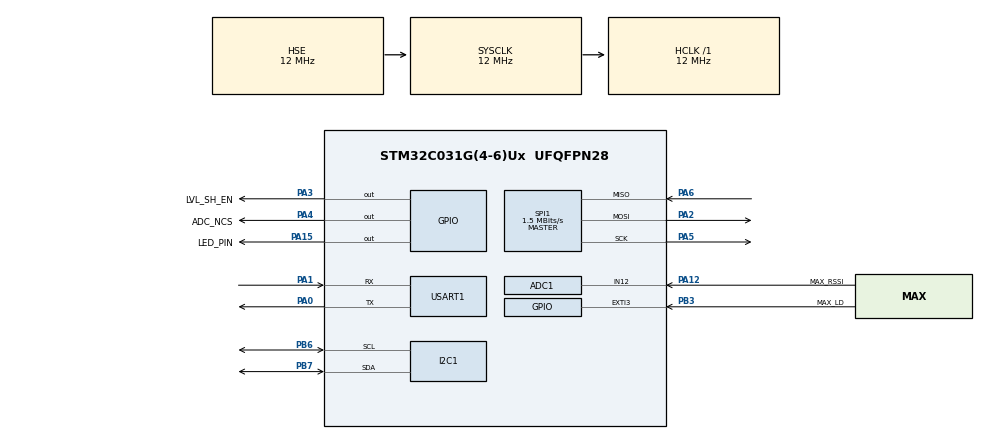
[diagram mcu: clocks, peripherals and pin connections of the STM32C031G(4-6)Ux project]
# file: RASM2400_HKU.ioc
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ADC1.Channel-0\#ChannelRegularConversion=ADC_CHANNEL_12
ADC1.NbrOfConversionFlag=1
ADC1.Rank-0\#ChannelRegularConversion=1
ADC1.SamplingTime-0\#ChannelRegularConversion=ADC_SAMPLINGTIME_COMMON_1
ADC1.SelectedChannel=ADC_CHANNEL_12
ADC1.master=1
I2C1.Timing=0x40000A0B
Mcu.Family=STM32C0
Mcu.Name=STM32C031G(4-6)Ux
Mcu.Package=UFQFPN28
PA0.Mode=Asynchronous
PA0.Signal=USART1_TX
PA1.Mode=Asynchronous
PA1.Signal=USART1_RX
PA12\ [PA10].GPIO_Label=MAX_RSSI
PA12\ [PA10].Mode=IN12
PA12\ [PA10].Signal=ADC1_IN12
PA13.Mode=Serial_Wire
PA13.Signal=DEBUG_SWDIO
PA14-BOOT0.Mode=Serial_Wire
PA14-BOOT0.Signal=DEBUG_SWCLK
PA15.GPIO_Label=LED_PIN
PA15.Signal=GPIO_Output
PA2.Mode=Full_Duplex_Master
PA2.Signal=SPI1_MOSI
PA3.GPIO_Label=LVL_SH_EN
PA3.Signal=GPIO_Output
PA4.GPIO_Label=ADC_NCS
PA4.Signal=GPIO_Output
PA5.Mode=Full_Duplex_Master
PA5.Signal=SPI1_SCK
PA6.Mode=Full_Duplex_Master
PA6.Signal=SPI1_MISO
PB3.GPIO_Label=MAX_LD
PB3.Signal=GPXTI3
PB6.Mode=I2C
PB6.Signal=I2C1_SCL
PB7.Mode=I2C
PB7.Signal=I2C1_SDA
PC14-OSCX_IN\ (PC14).Mode=HSE-External-Oscillator-REMAPPED
PC14-OSCX_IN\ (PC14).Signal=RCC_OSCX_IN
PC15-OSCX_OUT\ (PC15).Mode=HSE-External-Oscillator-REMAPPED
PC15-OSCX_OUT\ (PC15).Signal=RCC_OSCX_OUT
ProjectManager.HeapSize=0x200
ProjectManager.StackSize=0x400
ProjectManager.TargetToolchain=STM32CubeIDE
RCC.ADCFreq_Value=12000000
RCC.AHBFreq_Value=12000000
RCC.CortexFreq_Value=12000000
RCC.EXTERNAL_CLOCK_VALUE=12288000
RCC.HCLKFreq_Value=12000000
RCC.HSE_VALUE=12000000
RCC.HSI_VALUE=48000000
RCC.LSE_VALUE=32768
RCC.SYSCLKFreq_VALUE=12000000
RCC.SYSCLKSource=RCC_SYSCLKSOURCE_HSE
SPI1.BaudRatePrescaler=SPI_BAUDRATEPRESCALER_8
SPI1.CalculateBaudRate=1.5 MBits/s
SPI1.Direction=SPI_DIRECTION_2LINES
SPI1.Mode=SPI_MODE_MASTER
SPI1.VirtualType=VM_MASTER
USART1.VirtualMode-Asynchronous=VM_ASYNC
board=custom

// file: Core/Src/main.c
/* USER CODE BEGIN Header */
/**
  ******************************************************************************
  * @file           : main.c
  * @brief          : Main program body
  ******************************************************************************
  * @attention
  *
  * Copyright (c) 2024 STMicroelectronics.
  * All rights reserved.
  *
  * This software is licensed under terms that can be found in the LICENSE file
  * in the root directory of this software component.
  * If no LICENSE file comes with this software, it is provided AS-IS.
  *
  ******************************************************************************
  */
/* USER CODE END Header */
#include "main.h"
#include "adc.h"
#include "i2c.h"
#include "spi.h"
#include "usart.h"
#include "gpio.h"

/* USER CODE BEGIN Includes */
#include "config.h"
#include "platform_types.h"
#include "stm32c0xx_hal.h"
#include "ADC3xxx.h"
#include "MAX2831.h"
/* USER CODE END Includes */

void SystemClock_Config(void);

/* USER CODE BEGIN 0 */

int putchar(int c)
{
  HAL_StatusTypeDef x;

  do {
    x = HAL_UART_Transmit(&huart1, (u8*)&c, 1, 1000);

  } while(x != HAL_OK);

  return c;
}

/* USER CODE END 0 */

int main(void)
{

  /* MCU Configuration--------------------------------------------------------*/

  /* Reset of all peripherals, Initializes the Flash interface and the Systick. */
  HAL_Init();

  /* Configure the system clock */
  SystemClock_Config();

  /* Initialize all configured peripherals */
  MX_GPIO_Init();
  MX_ADC1_Init();
  MX_I2C1_Init();
  MX_SPI1_Init();
  MX_USART1_UART_Init();
  /* USER CODE BEGIN 2 */
  LVLSH_ENA();
  ADC3221_init();
  LVLSH_DIS();
  MAX2831_init();
  LED_ON();
  /* USER CODE END 2 */

  /* Infinite loop */
  while (1)
  {

  }
}

void SystemClock_Config(void)
{
  RCC_OscInitTypeDef RCC_OscInitStruct = {0};
  RCC_ClkInitTypeDef RCC_ClkInitStruct = {0};

  /** Initializes the RCC Oscillators according to the specified parameters
  * in the RCC_OscInitTypeDef structure.
  */
  RCC_OscInitStruct.OscillatorType = RCC_OSCILLATORTYPE_HSE;
  RCC_OscInitStruct.HSEState = RCC_HSE_ON;
  if (HAL_RCC_OscConfig(&RCC_OscInitStruct) != HAL_OK)
  {
    Error_Handler();
  }

  /** Initializes the CPU, AHB and APB buses clocks
  */
  RCC_ClkInitStruct.ClockType = RCC_CLOCKTYPE_HCLK|RCC_CLOCKTYPE_SYSCLK
                              |RCC_CLOCKTYPE_PCLK1;
  RCC_ClkInitStruct.SYSCLKSource = RCC_SYSCLKSOURCE_HSE;
  RCC_ClkInitStruct.SYSCLKDivider = RCC_SYSCLK_DIV1;
  RCC_ClkInitStruct.AHBCLKDivider = RCC_HCLK_DIV1;
  RCC_ClkInitStruct.APB1CLKDivider = RCC_APB1_DIV1;

  if (HAL_RCC_ClockConfig(&RCC_ClkInitStruct, FLASH_LATENCY_0) != HAL_OK)
  {
    Error_Handler();
  }
}

void Error_Handler(void)
{
  __disable_irq();
  while (1)
  {
  }
}
